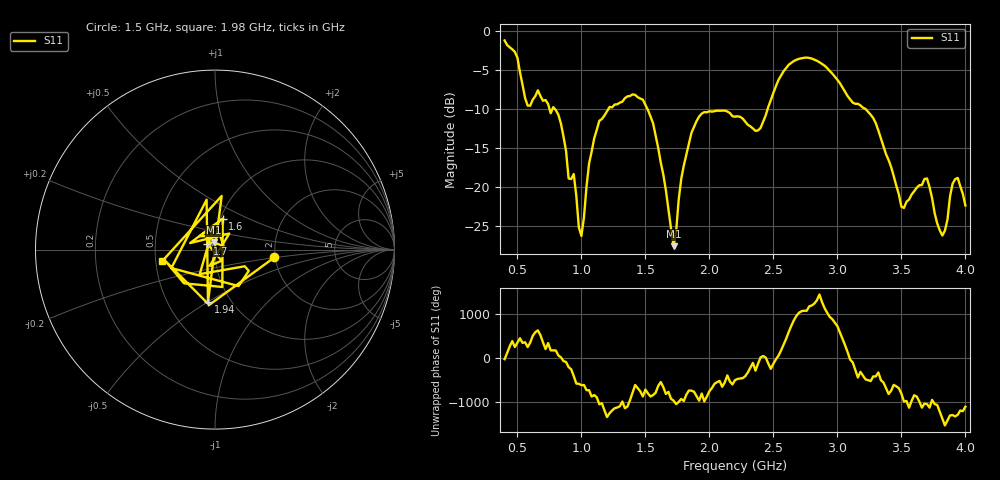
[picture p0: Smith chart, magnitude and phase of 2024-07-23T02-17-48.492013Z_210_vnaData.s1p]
!Created with skrf (http://scikit-rf.org).
# Hz S RI R 50.0
!freq ReS11 ImS11
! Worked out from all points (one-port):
!   181 points, 400 MHz to 4 GHz, reference 50 ohm
!   lowest |S11| = -27.6 dB at 1.72 GHz (marker M1), VSWR 1.09, Z = 49.1 + j4.05 ohm
!   |S11| at or under -10 dB: 791 MHz to 1.212 GHz (420.9 MHz wide, 42 % of centre); 1.515 GHz to 2.456 GHz (940.8 MHz wide, 47.4 % of centre); 3.217 GHz to end of sweep (the widest 3 of 4)
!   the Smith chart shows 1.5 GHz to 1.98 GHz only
!   S11 on the Smith chart (normalised r, x): 1.5 GHz: 1.98, -0.19; 1.6 GHz: 1.02, +0.36; 1.7 GHz: 0.92, +0.06; 1.94 GHz: 0.78, -0.50; 1.98 GHz: 0.54, -0.08
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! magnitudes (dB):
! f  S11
! 400 MHz  -1.3
! 580 MHz  -9.6
! 660 MHz  -7.6
! 860 MHz  -13.6
! 900 MHz  -18.9
! 940 MHz  -18.4
! 1 GHz  -26.3
! 1.1 GHz  -13.8
! 1.3 GHz  -9.2
! 1.5 GHz  -9.5
! 1.6 GHz  -15.0
! 1.7 GHz  -25.3
! 1.72 GHz  -27.6
! 1.76 GHz  -21.6
! 1.86 GHz  -13.1
! 1.94 GHz  -10.6
! 1.98 GHz  -10.5
! 2.2 GHz  -11.0
! 2.38 GHz  -12.8
! 2.66 GHz  -3.9
! 3.1 GHz  -8.8
! 3.28 GHz  -11.2
! 3.5 GHz  -22.5
! 3.56 GHz  -21.6
! 3.7 GHz  -18.9
! 3.82 GHz  -26.2
! 3.92 GHz  -19.0
! 4 GHz  -22.4
